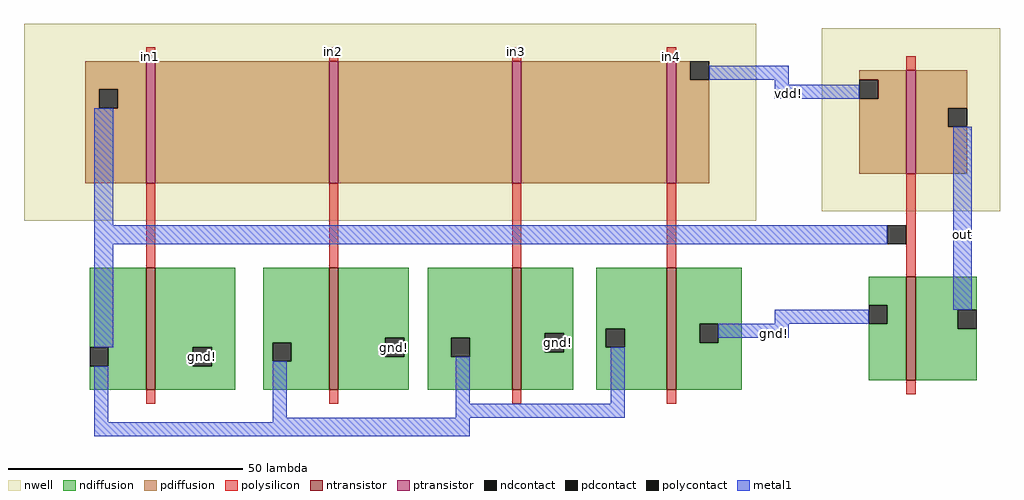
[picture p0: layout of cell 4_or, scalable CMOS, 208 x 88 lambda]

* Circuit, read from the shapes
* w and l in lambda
.subckt 4_or gnd! in1 in2 in3 in4 out vdd!
M1 gnd! in1 n1 VSUBS nfet w=26 l=2
M2 gnd! in2 n1 VSUBS nfet w=26 l=2
M3 gnd! in3 n1 VSUBS nfet w=26 l=2
M4 gnd! in4 n1 VSUBS nfet w=26 l=2
M5 out n1 gnd! VSUBS nfet w=22 l=2
M6 n2 in1 n1 n3 pfet w=26 l=2
M7 n4 in2 n2 n3 pfet w=26 l=2
M8 n5 in3 n4 n3 pfet w=26 l=2
M9 vdd! in4 n5 n3 pfet w=26 l=2
M10 out n1 vdd! n6 pfet w=22 l=2
.ends

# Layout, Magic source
magic
tech scmos
<< nwell >>
rect -74 5 82 47
rect 96 7 134 46
<< ntransistor >>
rect -48 -31 -46 -5
rect -9 -31 -7 -5
rect 30 -31 32 -5
rect 63 -31 65 -5
rect 114 -29 116 -7
<< ptransistor >>
rect -48 13 -46 39
rect -9 13 -7 39
rect 30 13 32 39
rect 63 13 65 39
rect 114 15 116 37
<< ndiffusion >>
rect -60 -22 -48 -5
rect -56 -26 -48 -22
rect -60 -31 -48 -26
rect -46 -22 -29 -5
rect -46 -26 -38 -22
rect -34 -26 -29 -22
rect -46 -31 -29 -26
rect -23 -21 -9 -5
rect -23 -25 -21 -21
rect -17 -25 -9 -21
rect -23 -31 -9 -25
rect -7 -20 8 -5
rect -7 -24 3 -20
rect 7 -24 8 -20
rect -7 -31 8 -24
rect 12 -20 30 -5
rect 12 -24 17 -20
rect 21 -24 30 -20
rect 12 -31 30 -24
rect 32 -19 43 -5
rect 32 -23 37 -19
rect 41 -23 43 -19
rect 32 -31 43 -23
rect 48 -18 63 -5
rect 48 -22 50 -18
rect 54 -22 63 -18
rect 48 -31 63 -22
rect 65 -17 79 -5
rect 65 -21 70 -17
rect 74 -21 79 -17
rect 65 -31 79 -21
rect 106 -13 114 -7
rect 110 -17 114 -13
rect 106 -29 114 -17
rect 116 -14 129 -7
rect 116 -18 125 -14
rect 116 -29 129 -18
<< pdiffusion >>
rect -61 33 -48 39
rect -61 29 -58 33
rect -54 29 -48 33
rect -61 13 -48 29
rect -46 13 -9 39
rect -7 13 30 39
rect 32 13 63 39
rect 65 35 68 39
rect 65 13 72 35
rect 104 35 114 37
rect 108 31 114 35
rect 104 15 114 31
rect 116 29 127 37
rect 116 25 123 29
rect 116 15 127 25
<< ndcontact >>
rect -60 -26 -56 -22
rect -38 -26 -34 -22
rect -21 -25 -17 -21
rect 3 -24 7 -20
rect 17 -24 21 -20
rect 37 -23 41 -19
rect 50 -22 54 -18
rect 70 -21 74 -17
rect 106 -17 110 -13
rect 125 -18 129 -14
<< pdcontact >>
rect -58 29 -54 33
rect 68 35 72 39
rect 104 31 108 35
rect 123 25 127 29
<< polysilicon >>
rect -48 39 -46 42
rect -9 39 -7 42
rect 30 39 32 42
rect 63 39 65 42
rect 114 37 116 40
rect -48 -5 -46 13
rect -9 -5 -7 13
rect 30 -5 32 13
rect 63 -5 65 13
rect 114 -7 116 15
rect -48 -34 -46 -31
rect -9 -34 -7 -31
rect 30 -34 32 -31
rect 63 -34 65 -31
rect 114 -32 116 -29
<< polycontact >>
rect 110 0 114 4
<< metal1 >>
rect 72 35 89 38
rect 86 34 89 35
rect 86 31 104 34
rect -59 4 -55 29
rect -59 0 110 4
rect -59 -22 -55 0
rect 86 -17 106 -14
rect 124 -14 128 25
rect 74 -20 89 -17
rect -59 -38 -56 -26
rect -21 -37 -18 -25
rect 18 -34 21 -24
rect 51 -34 54 -22
rect 18 -37 54 -34
rect -21 -38 21 -37
rect -59 -41 21 -38
<< labels >>
rlabel metal1 126 2 126 2 1 out
rlabel metal1 89 32 89 32 1 vdd!
rlabel metal1 86 -19 86 -19 1 gnd!
rlabel ndcontact -36 -24 -36 -24 1 gnd!
rlabel ndcontact 5 -22 5 -22 1 gnd!
rlabel ndcontact 40 -21 40 -21 1 gnd!
rlabel polysilicon -47 40 -47 40 1 in1
rlabel polysilicon -8 41 -8 41 1 in2
rlabel polysilicon 31 41 31 41 1 in3
rlabel polysilicon 64 40 64 40 1 in4
<< end >>
